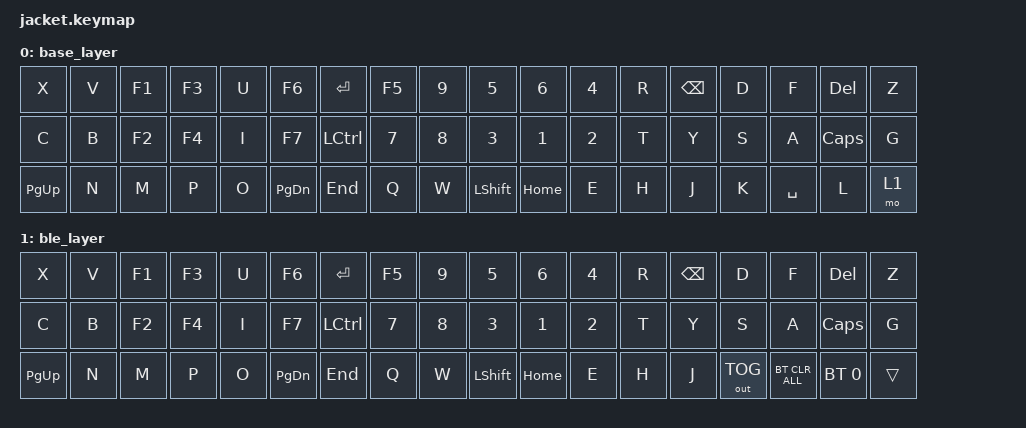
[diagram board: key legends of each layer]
#include <behaviors.dtsi>
#include <dt-bindings/zmk/keys.h>
#include <dt-bindings/zmk/bt.h>
#include <dt-bindings/zmk/outputs.h>

/ {
        keymap {
            compatible = "zmk,keymap";

            base_layer {
              bindings = <
                    &kp X      &kp V  &kp F1   &kp F3  &kp U  &kp F6      &kp RET    &kp F5  &kp 9   &kp 5       &kp 6     &kp 4   &kp R  &kp BSPC  &kp D  &kp F    &kp DEL   &kp Z
                    &kp C      &kp B  &kp F2   &kp F4  &kp I  &kp F7      &kp LCTRL  &kp 7   &kp 8   &kp 3       &kp 1     &kp 2   &kp T  &kp Y     &kp S  &kp A    &kp CAPS  &kp G
                    &kp PG_UP  &kp N  &kp M    &kp P   &kp O  &kp PG_DN   &kp END    &kp Q   &kp W   &kp LSHIFT  &kp HOME  &kp E   &kp H  &kp J     &kp K  &kp SPC  &kp L     &mo 1
              >;
            };

            ble_layer {
              bindings = <
                    &kp X      &kp V  &kp F1   &kp F3  &kp U  &kp F6      &kp RET    &kp F5  &kp 9   &kp 5       &kp 6     &kp 4   &kp R  &kp BSPC  &kp D         &kp F           &kp DEL       &kp Z
                    &kp C      &kp B  &kp F2   &kp F4  &kp I  &kp F7      &kp LCTRL  &kp 7   &kp 8   &kp 3       &kp 1     &kp 2   &kp T  &kp Y     &kp S         &kp A           &kp CAPS      &kp G
                    &kp PG_UP  &kp N  &kp M    &kp P   &kp O  &kp PG_DN   &kp END    &kp Q   &kp W   &kp LSHIFT  &kp HOME  &kp E   &kp H  &kp J     &out OUT_TOG  &bt BT_CLR_ALL  &bt BT_SEL 0  &trans
              >;
            };
        };
};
